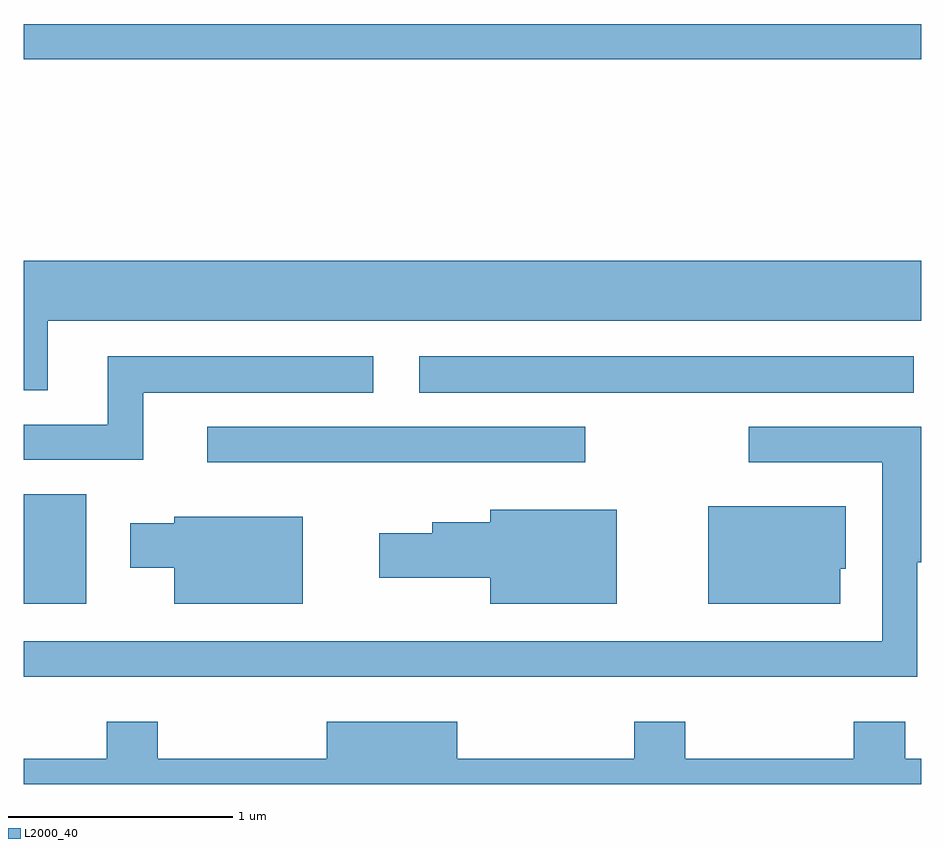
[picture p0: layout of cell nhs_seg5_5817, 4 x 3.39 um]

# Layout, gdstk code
import gdstk
lib = gdstk.Library(unit=1e-6, precision=1e-09)
def R(c, l, rs):  # rectangles x0, y0, x1, y1
    for r in rs: c.add(gdstk.rectangle(r[:2], r[2:], *l))
def P(c, l, *ps):  # polygons
    for p in ps: c.add(gdstk.Polygon(p, *l))
L2000_40 = (2000, 40)

nhs_seg5_5817 = lib.new_cell('nhs_seg5_5817')
R(nhs_seg5_5817, L2000_40, [(357.611,1448.876,357.889,1449.364), (358.428,1449.506,360.113,1449.664), (359.373,1449.816,361.578,1449.979), (357.611,1451.301,361.611,1451.459)])
P(nhs_seg5_5817, L2000_40, [(357.719,1450.136),(361.611,1450.136),(361.611,1450.404),(357.611,1450.404),(357.611,1449.826),(357.719,1449.826)],
  [(358.144,1449.816),(359.168,1449.816),(359.168,1449.979),(357.986,1449.979),(357.986,1449.674),(357.611,1449.674),(357.611,1449.516),(358.144,1449.516)],
  [(361.594,1449.061),(361.611,1449.061),(361.611,1449.664),(360.843,1449.664),(360.843,1449.506),(361.436,1449.506),(361.436,1448.709),(357.611,1448.709),(357.611,1448.551),(361.594,1448.551)],
  [(361.249,1449.031),(361.274,1449.031),(361.274,1449.309),(360.661,1449.309),(360.661,1448.876),(361.249,1448.876)],
  [(360.254,1449.294),(359.691,1449.294),(359.691,1449.239),(359.431,1449.239),(359.431,1449.189),(359.196,1449.189),(359.196,1448.991),(359.691,1448.991),(359.691,1448.876),(360.254,1448.876)],
  [(358.854,1449.264),(358.281,1449.264),(358.281,1449.234),(358.086,1449.234),(358.086,1449.036),(358.281,1449.036),(358.281,1448.876),(358.854,1448.876)],
  [(361.611,1448.184),(361.539,1448.184),(361.539,1448.349),(361.311,1448.349),(361.311,1448.184),(360.559,1448.184),(360.559,1448.349),(360.331,1448.349),(360.331,1448.184),(359.544,1448.184),(359.544,1448.349),(358.961,1448.349),(358.961,1448.184),(358.209,1448.184),(358.209,1448.349),(357.981,1448.349),(357.981,1448.184),(357.611,1448.184),(357.611,1448.072),(361.611,1448.072)])

lib.write_gds('nhs_seg5_5817.gds')
